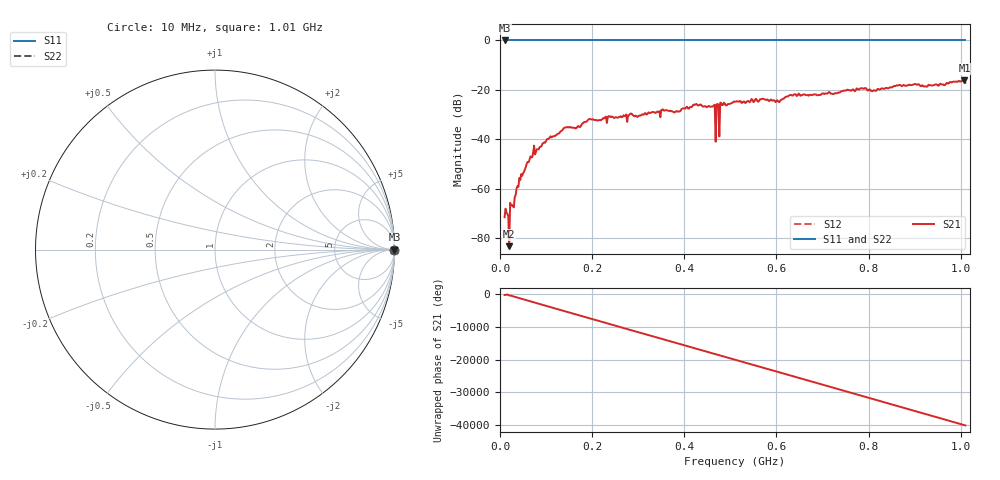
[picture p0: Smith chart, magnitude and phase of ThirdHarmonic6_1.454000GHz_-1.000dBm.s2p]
! 8/16/2025 4:52:40 PM
! C:\ANRITSUVNA\TEMP\TEMP.S2P
! CHANNEL.1
! TR.MEASUREMENT
! RAW.DATA
! RF.CORRECTION.OFF
! AVERAGING.OFF
! IF.BANDWIDTH: 5KHZ
! SWEEPTYPE:  FREQ.SWEEP(Linear)
! Reference Plane Port Info
! PORT:  PORT1  PORT2
! DISTANCE:  0  m  0  m
! TIME:  0  s  0  s
! PHASE.OFFSET:  0  deg.  0  deg.
! LOSS:  0  dB  0  dB
! REF.LOSS:  0  dB  0  dB
! REF.FREQ:  0  Hz  0  Hz
! Power Info
! POWER:  -20  dBm  -20  dBm
! EFF.POWER:  -20  dBm  -20  dBm
! SOURCE.ATTEN:  0  dB  0  dB
! TEST.ATTEN:  0  dB  0  dB
# GHZ S RI R 50.0
! FREQ.GHZ  S11RE  S11IM  S21RE  S21IM  S12RE  S12IM  S22RE  S22IM
!; PortSelection: Port_12
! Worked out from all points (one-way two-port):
!   501 points, 10 MHz to 1.01 GHz, reference 50 ohm
!   highest |S21| = -16.18 dB at 1.008 GHz (marker M1); lowest = -83.1 dB at 20 MHz (marker M2)
!   lowest |S11| = 0.0 dB at 10 MHz (marker M3)
!   |S11| at or under -10 dB: nowhere
!   |S22| runs from 0.0 to 0.0 dB; largest |S21 - S12| = 1.1
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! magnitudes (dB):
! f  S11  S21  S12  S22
! 10 MHz  0.0  -71.5  0.0  0.0
! 20 MHz  0.0  -83.1  0.0  0.0
! 42 MHz  0.0  -55.6  0.0  0.0
! 70 MHz  0.0  -47.2  0.0  0.0
! 142 MHz  0.0  -35.2  0.0  0.0
! 178 MHz  0.0  -33.7  0.0  0.0
! 196 MHz  0.0  -31.8  0.0  0.0
! 344 MHz  0.0  -28.9  0.0  0.0
! 424 MHz  0.0  -25.9  0.0  0.0
! 462 MHz  0.0  -26.7  0.0  0.0
! 464 MHz  0.0  -26.2  0.0  0.0
! 470 MHz  0.0  -25.9  0.0  0.0
! 472 MHz  0.0  -25.6  0.0  0.0
! 474 MHz  0.0  -25.9  0.0  0.0
! 480 MHz  0.0  -25.3  0.0  0.0
! 482 MHz  0.0  -26.1  0.0  0.0
! 510 MHz  0.0  -24.7  0.0  0.0
! 602 MHz  0.0  -24.1  0.0  0.0
! 678 MHz  0.0  -22.1  0.0  0.0
! 844 MHz  0.0  -19.2  0.0  0.0
! 1.008 GHz  0.0  -16.2  0.0  0.0
! 1.01 GHz  0.0  -17.1  0.0  0.0
